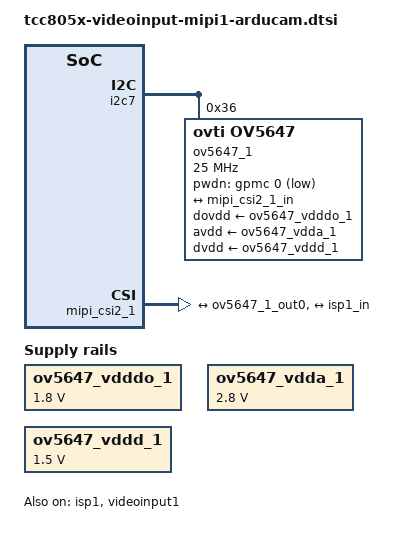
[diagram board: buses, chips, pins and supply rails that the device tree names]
/ {
	ov5647_vdddo_1: fixedregulator@0 {
		compatible = "regulator-fixed";
		regulator-name = "ov5647_vdddo";
		regulator-min-microvolt = <1800000>;
		regulator-max-microvolt = <1800000>;
		enable-active-high;
		regulator-always-on;
	};

	ov5647_vdda_1: fixedregulator@1 {
		compatible = "regulator-fixed";
		regulator-name = "ov5647_vdda";
		regulator-min-microvolt = <2800000>;
		regulator-max-microvolt = <2800000>;
		enable-active-high;
		regulator-always-on;
	};

	ov5647_vddd_1: fixedregulator@2 {
		compatible = "regulator-fixed";
		regulator-name = "ov5647_vddd";
		regulator-min-microvolt = <1500000>;
		regulator-max-microvolt = <1500000>;
		enable-active-high;
		regulator-always-on;
	};

	ov5647_clk_1: ov5647_clk {
		compatible = "fixed-clock";
		#clock-cells = <1>;
		clock-frequency = <25000000>;
	};
};

&i2c7 {
	status = "okay";
	ov5647_1@36 {
		compatible = "ovti,ov5647";
		status = "okay";
		reg = <0x36>;

		clocks = <&ov5647_clk_1 200>;
		clock-names = "xclk";
		clock-frequency = <25000000>;

		dovdd-supply = <&ov5647_vdddo_1>;		// 1.8v
		avdd-supply = <&ov5647_vdda_1>;			// 2.8v
		dvdd-supply = <&ov5647_vddd_1>;			// 1.5v

		pwdn-gpios = <&gpmc 0 GPIO_ACTIVE_LOW>;

		ports {
			#address-cells = <1>;
			#size-cells = <0>;
			port@0 {
				reg = <0>;
				ov5647_1_out0: endpoint@0 {
					remote-endpoint = <&mipi_csi2_1_in>;
					io-direction = "output";
					channel = <1>;

					clock-lanes = <0>;
					data-lanes = <1 2>;
					clock-noncontinuous;
					link-frequencies =
						/bits/ 64 <297000000>;
				};
			};
		};
	};
};

&mipi_csi2_1 {
	status = "okay";
	ports {
		#address-cells = <1>;
		#size-cells = <0>;
		
		port@0 {
			reg = <0>;
			mipi_csi2_1_in: endpoint {
				remote-endpoint = <&ov5647_1_out0>;
				io-direction    = "input";
				num-channel     = <4>;
				/*
				* 0: CH0 only, no data interleave
				* 1: DT only
				* 2: VC only
				* 3: VC and DT
				*/
				interleave-mode = <3>;
				hs-settle = <13>;
				data-lanes = <1 2>;
				};
		};
		port@1 {
			reg = <1>;
			mipi_csi2_1_out0: endpoint {
				remote-endpoint = <&isp1_in>;
				io-direction	= "output";
				channel		= <1>;
				/*
				 * 0: Single pixel mode
				 * 1: Dual pixel mode (RAW8/10/12, YUV422)
				 * 2: Quad pixel mode (RAW8/10/12)
				 * 3: Invalid
				 */
				pixel-mode = <0>;
			};
		};
		port@2 {
			reg = <2>;
			mipi_csi2_1_out1: endpoint {
				io-direction	= "output";
				channel		= <0>;
				pixel-mode = <0>;
			};
		};
		port@3 {
			reg = <3>;
			mipi_csi2_1_out2: endpoint {
				io-direction	= "output";
				channel		= <2>;
				pixel-mode = <0>;
			};
		};
		port@4 {
			reg = <4>;
			mipi_csi2_1_out3: endpoint {
				io-direction	= "output";
				channel		= <3>;
				pixel-mode = <0>;
			};
		};
    };
};

&isp1 {
	status = "okay";
	mem_share = <1>;
	/*
	 * 0: RGGB
	 * 1: RCCB (ISP1 only)
	 * 2: RCCC (ISP1 only)
	 * 3: RGBIR (ISP1 only)
	 */
	cfa = <0>;

	/*
	 * Crop output image (X, Y)
	 * X: The number of left pixel. It will also crop X pixels of right.
	 * Y: The number of top pixel. It will also crop Y pixels of bottom.
	 * The default value is (8, 8).
	 */
	out_win_crop = <4 8>;

	ports {
		#address-cells = <1>;
		#size-cells = <0>;
		port@0 {
			reg = <0>;
			isp1_in: endpoint {
				remote-endpoint = <&mipi_csi2_1_out0>;
				io-direction	= "input";
			};
		};
		port@1 {
			reg = <1>;
			isp1_out: endpoint {
				remote-endpoint	= <&videoinput1_in>;
				io-direction	= "output";
			};
		};
	};
};

&videoinput1 {
	status		= "okay";
	cifport		= <&cifport		6>;
	/* memory-region
	 *  - [0]: parking guideline
	 *  - [1]: deinterlacing by viqe
	 *  - [2]: preview
	 *  - [3]: last frame
	 */
	memory-region	= <0
			   0
			   &pmap_rearcamera1
			   0>;
	port {
		videoinput1_in: endpoint {
			remote-endpoint	= <&isp1_out>;
			io-direction	= "input";
			stream-enable	= <1>;	// VIN_CTRL.SE
			flush-vsync	= <1>;	// VIN_MISC.FVS
		};
	};
};
